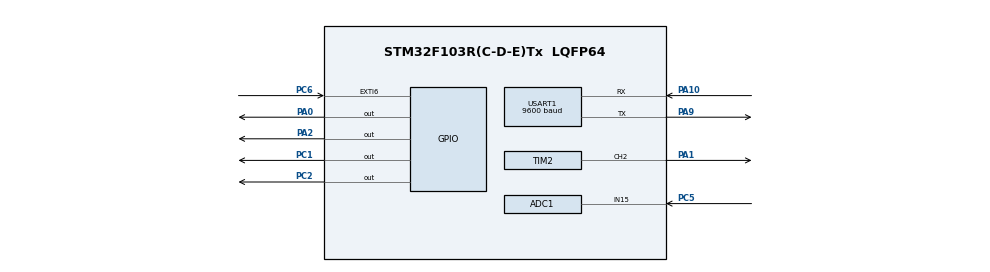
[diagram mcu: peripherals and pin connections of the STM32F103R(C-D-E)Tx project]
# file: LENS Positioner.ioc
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ADC1.Channel-2\#ChannelRegularConversion=ADC_CHANNEL_15
ADC1.ContinuousConvMode=ENABLE
ADC1.NbrOfConversionFlag=1
ADC1.Rank-2\#ChannelRegularConversion=1
ADC1.SamplingTime-2\#ChannelRegularConversion=ADC_SAMPLETIME_1CYCLE_5
ADC1.master=1
Mcu.Family=STM32F1
Mcu.Name=STM32F103R(C-D-E)Tx
Mcu.Package=LQFP64
NVIC.EXTI9_5_IRQn=true\:0\:0\:false\:false\:true\:true\:true
NVIC.PriorityGroup=NVIC_PRIORITYGROUP_4
PA0-WKUP.Signal=GPIO_Output
PA1.Signal=S_TIM2_CH2
PA10.Mode=Asynchronous
PA10.Signal=USART1_RX
PA13.Mode=JTAG_5_pins
PA13.Signal=SYS_JTMS-SWDIO
PA14.Mode=JTAG_5_pins
PA14.Signal=SYS_JTCK-SWCLK
PA15.Mode=JTAG_5_pins
PA15.Signal=SYS_JTDI
PA2.Signal=GPIO_Output
PA9.Mode=Asynchronous
PA9.Signal=USART1_TX
PB3.Mode=JTAG_5_pins
PB3.Signal=SYS_JTDO-TRACESWO
PB4.Mode=JTAG_5_pins
PB4.Signal=SYS_NJTRST
PC1.Signal=GPIO_Output
PC2.Signal=GPIO_Output
PC5.Signal=SharedAnalog_PC5
PC6.GPIO_ModeDefaultEXTI=GPIO_MODE_IT_FALLING
PC6.Signal=GPXTI6
ProjectManager.HeapSize=0x200
ProjectManager.StackSize=0x400
ProjectManager.TargetToolchain=MDK-ARM V5.27
RCC.APB1Freq_Value=8000000
RCC.APB2Freq_Value=8000000
SH.S_TIM2_CH2.0=TIM2_CH2,Output Compare2 CH2
SH.SharedAnalog_PC5.0=GPIO_Analog
SH.SharedAnalog_PC5.1=ADC1_IN15,IN15
TIM2.Channel-Output\ Compare2\ CH2=TIM_CHANNEL_2
TIM2.OCMode_2=TIM_OCMODE_TOGGLE
TIM2.Period=99
TIM2.Prescaler=1999
TIM2.Pulse-Output\ Compare2\ CH2=49
USART1.BaudRate=9600
USART1.VirtualMode=VM_ASYNC
board=custom

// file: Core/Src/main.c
/* USER CODE BEGIN Header */
/**
  ******************************************************************************
  * @file           : main.c
  * @brief          : Main program body
  ******************************************************************************
  * @attention
  *
  * <h2><center>&copy; Copyright (c) 2021 STMicroelectronics.
  * All rights reserved.</center></h2>
  *
  * This software component is licensed by ST under BSD 3-Clause license,
  * the "License"; You may not use this file except in compliance with the
  * License. You may obtain a copy of the License at:
  *                        opensource.org/licenses/BSD-3-Clause
  *
  ******************************************************************************
  */
/* USER CODE END Header */
#include "main.h"

/* USER CODE BEGIN Includes */
#include "stepper_driver.h"

/* USER CODE END Includes */

/* USER CODE BEGIN PTD */
stepperDriver_typedef stepperDriver_struct;
stepperDriver_typedef source_StepperDriver_struct;

/* USER CODE END PTD */

ADC_HandleTypeDef hadc1;

TIM_HandleTypeDef htim2;

UART_HandleTypeDef huart1;

void SystemClock_Config(void);
static void MX_GPIO_Init(void);
static void MX_ADC1_Init(void);
static void MX_USART1_UART_Init(void);
static void MX_TIM2_Init(void);
/* USER CODE BEGIN PFP */
void Stepper_Init(void);
void Source_Stepper_Init(void);

/* USER CODE END PFP */

int main(void)
{
  /* USER CODE BEGIN 1 */
	stepperDriver_struct.DIR = GPIOA;
	stepperDriver_struct.ENB = GPIOA;
	stepperDriver_struct.Step = GPIOA;

	stepperDriver_struct.DIR_Pin = GPIO_PIN_0;
	stepperDriver_struct.Step_pin = GPIO_PIN_1;
	stepperDriver_struct.ENB_Pin = GPIO_PIN_2;
  /* USER CODE END 1 */

  /* MCU Configuration--------------------------------------------------------*/

  /* Reset of all peripherals, Initializes the Flash interface and the Systick. */
  HAL_Init();

  /* Configure the system clock */
  SystemClock_Config();

  /* Initialize all configured peripherals */
  MX_GPIO_Init();
  MX_ADC1_Init();
  MX_USART1_UART_Init();
  MX_TIM2_Init();
  /* USER CODE BEGIN 2 */
	HAL_ADC_Start_IT(&hadc1);
    uint8_t buffer[1];
	HAL_TIM_OC_Start(&htim2, TIM_CHANNEL_2);
	Stepper_Init();
	Source_Stepper_Init();

    char msg[20];
    uint16_t raw_value;
  /* USER CODE END 2 */

  /* Infinite loop */
  /* USER CODE BEGIN WHILE */
  while (1)
  {

	  HAL_GPIO_TogglePin(GPIOA, GPIO_PIN_8);
	  HAL_ADC_PollForConversion(&hadc1, HAL_MAX_DELAY);
	  raw_value = HAL_ADC_GetValue(&hadc1);
	  if(raw_value > 2100){
		  Enable_stepperDriver(&stepperDriver_struct);
		  setForward_stepperDriver(&stepperDriver_struct);
	  }
	  if(raw_value < 1800){
		  Enable_stepperDriver(&stepperDriver_struct);
		  setBackward_stepperDriver(&stepperDriver_struct);
	  }

	  if(raw_value > 1800 & raw_value < 2100){
		  Disable_stepperDriver(&stepperDriver_struct);
	  }

	  //sprintf(msg, "value: %d \n", raw_value);
	  //HAL_UART_Transmit(&huart1, msg, strlen(msg), HAL_MAX_DELAY);

	  HAL_Delay(100);
    /* USER CODE END WHILE */

  }
}

void SystemClock_Config(void)
{
  RCC_OscInitTypeDef RCC_OscInitStruct = {0};
  RCC_ClkInitTypeDef RCC_ClkInitStruct = {0};
  RCC_PeriphCLKInitTypeDef PeriphClkInit = {0};

  /** Initializes the RCC Oscillators according to the specified parameters
  * in the RCC_OscInitTypeDef structure.
  */
  RCC_OscInitStruct.OscillatorType = RCC_OSCILLATORTYPE_HSI;
  RCC_OscInitStruct.HSIState = RCC_HSI_ON;
  RCC_OscInitStruct.HSICalibrationValue = RCC_HSICALIBRATION_DEFAULT;
  RCC_OscInitStruct.PLL.PLLState = RCC_PLL_NONE;
  if (HAL_RCC_OscConfig(&RCC_OscInitStruct) != HAL_OK)
  {
    Error_Handler();
  }
  /** Initializes the CPU, AHB and APB buses clocks
  */
  RCC_ClkInitStruct.ClockType = RCC_CLOCKTYPE_HCLK|RCC_CLOCKTYPE_SYSCLK
                              |RCC_CLOCKTYPE_PCLK1|RCC_CLOCKTYPE_PCLK2;
  RCC_ClkInitStruct.SYSCLKSource = RCC_SYSCLKSOURCE_HSI;
  RCC_ClkInitStruct.AHBCLKDivider = RCC_SYSCLK_DIV1;
  RCC_ClkInitStruct.APB1CLKDivider = RCC_HCLK_DIV1;
  RCC_ClkInitStruct.APB2CLKDivider = RCC_HCLK_DIV1;

  if (HAL_RCC_ClockConfig(&RCC_ClkInitStruct, FLASH_LATENCY_0) != HAL_OK)
  {
    Error_Handler();
  }
  PeriphClkInit.PeriphClockSelection = RCC_PERIPHCLK_ADC;
  PeriphClkInit.AdcClockSelection = RCC_ADCPCLK2_DIV2;
  if (HAL_RCCEx_PeriphCLKConfig(&PeriphClkInit) != HAL_OK)
  {
    Error_Handler();
  }
}

static void MX_ADC1_Init(void)
{

  ADC_ChannelConfTypeDef sConfig = {0};

  /** Common config
  */
  hadc1.Instance = ADC1;
  hadc1.Init.ScanConvMode = ADC_SCAN_DISABLE;
  hadc1.Init.ContinuousConvMode = ENABLE;
  hadc1.Init.DiscontinuousConvMode = DISABLE;
  hadc1.Init.ExternalTrigConv = ADC_SOFTWARE_START;
  hadc1.Init.DataAlign = ADC_DATAALIGN_RIGHT;
  hadc1.Init.NbrOfConversion = 1;
  if (HAL_ADC_Init(&hadc1) != HAL_OK)
  {
    Error_Handler();
  }
  /** Configure Regular Channel
  */
  sConfig.Channel = ADC_CHANNEL_15;
  sConfig.Rank = ADC_REGULAR_RANK_1;
  sConfig.SamplingTime = ADC_SAMPLETIME_1CYCLE_5;
  if (HAL_ADC_ConfigChannel(&hadc1, &sConfig) != HAL_OK)
  {
    Error_Handler();
  }

}

static void MX_TIM2_Init(void)
{

  TIM_MasterConfigTypeDef sMasterConfig = {0};
  TIM_OC_InitTypeDef sConfigOC = {0};

  htim2.Instance = TIM2;
  htim2.Init.Prescaler = 1999;
  htim2.Init.CounterMode = TIM_COUNTERMODE_UP;
  htim2.Init.Period = 99;
  htim2.Init.ClockDivision = TIM_CLOCKDIVISION_DIV1;
  htim2.Init.AutoReloadPreload = TIM_AUTORELOAD_PRELOAD_DISABLE;
  if (HAL_TIM_OC_Init(&htim2) != HAL_OK)
  {
    Error_Handler();
  }
  sMasterConfig.MasterOutputTrigger = TIM_TRGO_RESET;
  sMasterConfig.MasterSlaveMode = TIM_MASTERSLAVEMODE_DISABLE;
  if (HAL_TIMEx_MasterConfigSynchronization(&htim2, &sMasterConfig) != HAL_OK)
  {
    Error_Handler();
  }
  sConfigOC.OCMode = TIM_OCMODE_TOGGLE;
  sConfigOC.Pulse = 49;
  sConfigOC.OCPolarity = TIM_OCPOLARITY_HIGH;
  sConfigOC.OCFastMode = TIM_OCFAST_DISABLE;
  if (HAL_TIM_OC_ConfigChannel(&htim2, &sConfigOC, TIM_CHANNEL_2) != HAL_OK)
  {
    Error_Handler();
  }
  HAL_TIM_MspPostInit(&htim2);

}

static void MX_USART1_UART_Init(void)
{

  huart1.Instance = USART1;
  huart1.Init.BaudRate = 9600;
  huart1.Init.WordLength = UART_WORDLENGTH_8B;
  huart1.Init.StopBits = UART_STOPBITS_1;
  huart1.Init.Parity = UART_PARITY_NONE;
  huart1.Init.Mode = UART_MODE_TX_RX;
  huart1.Init.HwFlowCtl = UART_HWCONTROL_NONE;
  huart1.Init.OverSampling = UART_OVERSAMPLING_16;
  if (HAL_UART_Init(&huart1) != HAL_OK)
  {
    Error_Handler();
  }

}

static void MX_GPIO_Init(void)
{
  GPIO_InitTypeDef GPIO_InitStruct = {0};

  /* GPIO Ports Clock Enable */
  __HAL_RCC_GPIOC_CLK_ENABLE();
  __HAL_RCC_GPIOA_CLK_ENABLE();
  __HAL_RCC_GPIOB_CLK_ENABLE();

  /*Configure GPIO pin Output Level */
  HAL_GPIO_WritePin(GPIOC, GPIO_PIN_1|GPIO_PIN_2, GPIO_PIN_RESET);

  /*Configure GPIO pin Output Level */
  HAL_GPIO_WritePin(GPIOA, GPIO_PIN_0|GPIO_PIN_2, GPIO_PIN_RESET);

  /*Configure GPIO pins : PC1 PC2 */
  GPIO_InitStruct.Pin = GPIO_PIN_1|GPIO_PIN_2;
  GPIO_InitStruct.Mode = GPIO_MODE_OUTPUT_PP;
  GPIO_InitStruct.Pull = GPIO_NOPULL;
  GPIO_InitStruct.Speed = GPIO_SPEED_FREQ_LOW;
  HAL_GPIO_Init(GPIOC, &GPIO_InitStruct);

  /*Configure GPIO pins : PA0 PA2 */
  GPIO_InitStruct.Pin = GPIO_PIN_0|GPIO_PIN_2;
  GPIO_InitStruct.Mode = GPIO_MODE_OUTPUT_PP;
  GPIO_InitStruct.Pull = GPIO_NOPULL;
  GPIO_InitStruct.Speed = GPIO_SPEED_FREQ_LOW;
  HAL_GPIO_Init(GPIOA, &GPIO_InitStruct);

  /*Configure GPIO pin : PC6 */
  GPIO_InitStruct.Pin = GPIO_PIN_6;
  GPIO_InitStruct.Mode = GPIO_MODE_IT_FALLING;
  GPIO_InitStruct.Pull = GPIO_NOPULL;
  HAL_GPIO_Init(GPIOC, &GPIO_InitStruct);

  /* EXTI interrupt init*/
  HAL_NVIC_SetPriority(EXTI9_5_IRQn, 0, 0);
  HAL_NVIC_EnableIRQ(EXTI9_5_IRQn);

}

/* USER CODE BEGIN 4 */

void Stepper_Init(void){
	init_stepperDriver(&stepperDriver_struct);
}

void Source_Stepper_Init(void){

	source_StepperDriver_struct.DIR = GPIOC;
	source_StepperDriver_struct.ENB = GPIOC;
	source_StepperDriver_struct.Step = GPIOC;

	source_StepperDriver_struct.DIR_Pin = GPIO_PIN_1;
	source_StepperDriver_struct.Step_pin = GPIO_PIN_2;
	source_StepperDriver_struct.ENB_Pin = GPIO_PIN_3;

	init_stepperDriver(&source_StepperDriver_struct);

}

void HAL_GPIO_EXTI_Callback(uint16_t GPIO_Pin){
	if (GPIO_Pin == GPIO_PIN_6){
		Move_OneStep_stepperDriver(&source_StepperDriver_struct);
	}

}

/* USER CODE END 4 */

void Error_Handler(void)
{
}

/************************ (C) COPYRIGHT STMicroelectronics *****END OF FILE****/
